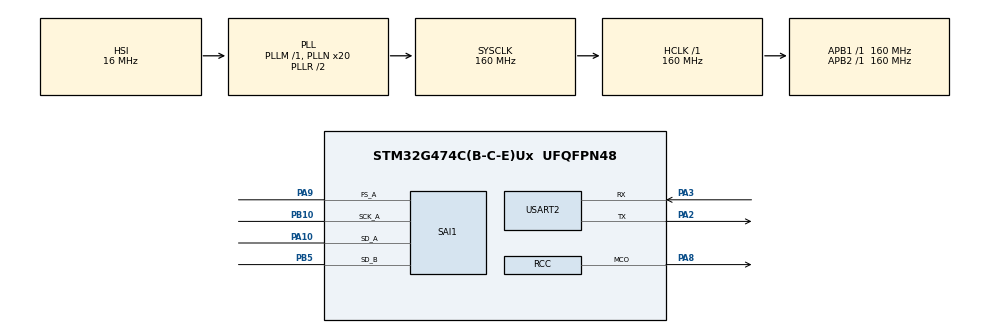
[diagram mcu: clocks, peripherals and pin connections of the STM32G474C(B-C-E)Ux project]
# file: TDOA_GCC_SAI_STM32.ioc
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Dma.Request0=SAI1_A
Dma.Request1=SAI1_B
Dma.SAI1_A.0.Direction=DMA_PERIPH_TO_MEMORY
Dma.SAI1_A.0.EventEnable=DISABLE
Dma.SAI1_A.0.Instance=DMA1_Channel1
Dma.SAI1_A.0.MemDataAlignment=DMA_MDATAALIGN_WORD
Dma.SAI1_A.0.MemInc=DMA_MINC_ENABLE
Dma.SAI1_A.0.Mode=DMA_CIRCULAR
Dma.SAI1_A.0.PeriphDataAlignment=DMA_PDATAALIGN_WORD
Dma.SAI1_A.0.PeriphInc=DMA_PINC_DISABLE
Dma.SAI1_A.0.Polarity=HAL_DMAMUX_REQ_GEN_RISING
Dma.SAI1_A.0.Priority=DMA_PRIORITY_VERY_HIGH
Dma.SAI1_A.0.RequestNumber=1
Dma.SAI1_A.0.SignalID=NONE
Dma.SAI1_A.0.SyncEnable=DISABLE
Dma.SAI1_A.0.SyncPolarity=HAL_DMAMUX_SYNC_NO_EVENT
Dma.SAI1_A.0.SyncRequestNumber=1
Dma.SAI1_A.0.SyncSignalID=NONE
Dma.SAI1_B.1.Direction=DMA_PERIPH_TO_MEMORY
Dma.SAI1_B.1.EventEnable=DISABLE
Dma.SAI1_B.1.Instance=DMA1_Channel2
Dma.SAI1_B.1.MemDataAlignment=DMA_MDATAALIGN_WORD
Dma.SAI1_B.1.MemInc=DMA_MINC_ENABLE
Dma.SAI1_B.1.Mode=DMA_CIRCULAR
Dma.SAI1_B.1.PeriphDataAlignment=DMA_PDATAALIGN_WORD
Dma.SAI1_B.1.PeriphInc=DMA_PINC_DISABLE
Dma.SAI1_B.1.Polarity=HAL_DMAMUX_REQ_GEN_RISING
Dma.SAI1_B.1.Priority=DMA_PRIORITY_VERY_HIGH
Dma.SAI1_B.1.RequestNumber=1
Dma.SAI1_B.1.SignalID=NONE
Dma.SAI1_B.1.SyncEnable=DISABLE
Dma.SAI1_B.1.SyncPolarity=HAL_DMAMUX_SYNC_NO_EVENT
Dma.SAI1_B.1.SyncRequestNumber=1
Dma.SAI1_B.1.SyncSignalID=NONE
Mcu.Family=STM32G4
Mcu.Name=STM32G474C(B-C-E)Ux
Mcu.Package=UFQFPN48
NVIC.DMA1_Channel1_IRQn=true\:0\:0\:false\:false\:true\:false\:true\:true
NVIC.DMA1_Channel2_IRQn=true\:0\:0\:false\:false\:true\:false\:true\:true
NVIC.PriorityGroup=NVIC_PRIORITYGROUP_4
NVIC.SAI1_IRQn=true\:0\:0\:false\:false\:true\:true\:true\:true
PA10.Mode=SAI_A_Master
PA10.Signal=SAI1_SD_A
PA2.Mode=Asynchronous
PA2.Signal=USART2_TX
PA3.Mode=Asynchronous
PA3.Signal=USART2_RX
PA8.Mode=Clock-out
PA8.Signal=RCC_MCO
PA9.Mode=SAI_A_Master
PA9.Signal=SAI1_FS_A
PB10.Mode=SAI_A_Master
PB10.Signal=SAI1_SCK_A
PB5.Mode=SAI_B_SyncSlave
PB5.Signal=SAI1_SD_B
ProjectManager.HeapSize=0x200
ProjectManager.StackSize=0x400
ProjectManager.TargetToolchain=STM32CubeIDE
RCC.ADC12Freq_Value=160000000
RCC.ADC345Freq_Value=160000000
RCC.AHBFreq_Value=160000000
RCC.APB1Freq_Value=160000000
RCC.APB1TimFreq_Value=160000000
RCC.APB2Freq_Value=160000000
RCC.APB2TimFreq_Value=160000000
RCC.CortexFreq_Value=160000000
RCC.EXTERNAL_CLOCK_VALUE=12288000
RCC.HCLKFreq_Value=160000000
RCC.HSE_VALUE=8000000
RCC.HSI48_VALUE=48000000
RCC.HSI_VALUE=16000000
RCC.LSE_VALUE=32768
RCC.PLLN=20
RCC.PLLQ=RCC_PLLQ_DIV4
RCC.RCC_MCO1Source=RCC_MCO1SOURCE_SYSCLK
RCC.RCC_MCODiv=RCC_MCODIV_8
RCC.SAI1CLockSelection=RCC_SAI1CLKSOURCE_PLL
RCC.SYSCLKFreq_VALUE=160000000
RCC.SYSCLKSource=RCC_SYSCLKSOURCE_PLLCLK
RCC.USBFreq_Value=80000000
RCC.VCOOutputFreq_Value=320000000
SAI1.AudioFrequency-SAI_A_Master=SAI_AUDIO_FREQUENCY_48K
SAI1.AudioMode-SAI_A_Master=SAI_MODEMASTER_RX
SAI1.BasicDataSize-SAI_A_Master=SAI_PROTOCOL_DATASIZE_24BIT
SAI1.BasicDataSize-SAI_B_SyncSlave=SAI_PROTOCOL_DATASIZE_24BIT
SAI1.FIFOThreshold-SAI_A_Master=SAI_FIFOTHRESHOLD_EMPTY
SAI1.InitProtocol-SAI_A_Master=Enable
SAI1.InitProtocol-SAI_B_SyncSlave=Enable
SAI1.Instance-SAI_A_Master=SAI$Index_Block_A
SAI1.Instance-SAI_B_SyncSlave=SAI$Index_Block_B
SAI1.MckOutput-SAI_A_Master=SAI_MCK_OUTPUT_DISABLE
SAI1.NoDivider-SAI_A_Master=SAI_MASTERDIVIDER_DISABLE
SAI1.VirtualMode-SAI_A_Master=VM_MASTER
SAI1.VirtualMode-SAI_B_SyncSlave=VM_SLAVE
SAI1.VirtualProtocol-SAI_A_BASIC=VM_BASIC_PROTOCOL
SAI1.VirtualProtocol-SAI_B_BASIC=VM_BASIC_PROTOCOL
USART2.VirtualMode-Asynchronous=VM_ASYNC
VP_SAI1_VP_$IpInstance_SAIA_SAI_BASIC.Mode=SAI_A_BASIC
VP_SAI1_VP_$IpInstance_SAIB_SAI_BASIC.Mode=SAI_B_BASIC
VP_SYS_VS_DBSignals.Mode=DisableDeadBatterySignals
board=custom

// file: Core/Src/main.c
/* USER CODE BEGIN Header */
/**
 ******************************************************************************
 * @file           : main.c
 * @brief          : Main program body
 ******************************************************************************
 * @attention
 *
 * Copyright (c) 2026 STMicroelectronics.
 * All rights reserved.
 *
 * This software is licensed under terms that can be found in the LICENSE file
 * in the root directory of this software component.
 * If no LICENSE file comes with this software, it is provided AS-IS.
 *
 ******************************************************************************
 */
/* USER CODE END Header */
#include "main.h"

/* USER CODE BEGIN Includes */
#include <math.h>
#include <stdio.h>
#include <stdlib.h>
#include <string.h>
#include "arm_math.h"
#include "arm_const_structs.h"
/* USER CODE END Includes */

/* USER CODE BEGIN PD */
#define SAI_A_BUFFER_SIZE 4096
#define SAI_B_BUFFER_SIZE 4096

#define AUDIO_FRAMES 1024

#define READY_A 0x01 // =00000001
#define READY_B 0x02 // =00000010
#define READY_BOTH 0x03 // =00000011 = READY_A OR READY_B

// trigger pra captura automatica com rms
#define TRIGGER_RMS 0.020f
#define RELEASE_RMS 0.005f
#define RELEASE_BLOCKS 3

// constantes GCC-PHAT.
#define GCC_WINDOW_SIZE 256
#define GCC_FFT_SIZE 512
#define GCC_WINDOW_OFFSET 384

#define GCC_MAX_LAG 14
#define GCC_PHYSICAL_MAX_LAG 14.5f
#define GCC_MAX_CLOSURE 0.50f

#define AUDIO_FS 48076.9230769f
#define PCM_24_SCALE 8388608.0f

#define GCC_EPSILON 1.0e-12f
#define GCC_MIN_RMS 0.0005f

#define ENABLE_AUTO_CAPTURE 0

#define SPEED_OF_SOUND 343.0f
#define MIC_DISTANCE_M 0.10f // 10cm

#define RAD_TO_DEG 57.2957795131f // 180/pi
/* USER CODE END PD */

SAI_HandleTypeDef hsai_BlockA1;
SAI_HandleTypeDef hsai_BlockB1;
DMA_HandleTypeDef hdma_sai1_a;
DMA_HandleTypeDef hdma_sai1_b;

UART_HandleTypeDef huart2;

/* USER CODE BEGIN PV */
volatile uint32_t saiA_buffer[SAI_A_BUFFER_SIZE];
volatile uint32_t saiB_buffer[SAI_B_BUFFER_SIZE];

int32_t mic1[AUDIO_FRAMES];
int32_t mic2[AUDIO_FRAMES];
int32_t mic3[AUDIO_FRAMES];

int32_t capture_mic1[AUDIO_FRAMES];
int32_t capture_mic2[AUDIO_FRAMES];
int32_t capture_mic3[AUDIO_FRAMES];

static float32_t fft_mic1[2 * GCC_FFT_SIZE];
static float32_t fft_mic2[2 * GCC_FFT_SIZE];
static float32_t fft_mic3[2 * GCC_FFT_SIZE];

// Buffer temporário para: X * conj(Y) e posteriormente IFFT.
static float32_t gcc_work[2 * GCC_FFT_SIZE];

volatile float32_t tdoa12_samples = 0.0f;
volatile float32_t tdoa13_samples = 0.0f;
volatile float32_t tdoa23_samples = 0.0f;

float32_t gcc12_quality = 0.0f;
float32_t gcc13_quality = 0.0f;
float32_t gcc23_quality = 0.0f;

volatile float32_t closure_samples = 0.0f;

volatile uint8_t tdoa12_valid = 0;
volatile uint8_t tdoa13_valid = 0;
volatile uint8_t tdoa23_valid = 0;

volatile uint8_t tdoa_all_valid = 0;

volatile float mic1_rms = 0.0f;
volatile float mic2_rms = 0.0f;
volatile float mic3_rms = 0.0f;

volatile uint32_t saiA_half_count = 0;
volatile uint32_t saiA_full_count = 0;
volatile uint32_t saiA_error_count = 0;

volatile uint32_t saiB_half_count = 0;
volatile uint32_t saiB_full_count = 0;
volatile uint32_t saiB_error_count = 0;

volatile int32_t mic1_min = 0;
volatile int32_t mic1_max = 0;
volatile int32_t mic2_min = 0;
volatile int32_t mic2_max = 0;

volatile uint8_t half_ready_mask = 0;
volatile uint8_t full_ready_mask = 0;

volatile uint8_t audio_block_ready = 0;

static uint32_t last_uart_update = 0;
volatile uint8_t capture_request = 0;
volatile uint8_t capture_ready = 0;

volatile uint8_t event_armed = 1;
volatile uint8_t release_count = 0;

static float32_t hann_window[GCC_WINDOW_SIZE];

volatile uint8_t tdoa_solution_valid = 0;

float32_t current_event_rms = 0.0f;

// azimute
float32_t direction_x = 0.0f;
float32_t direction_y = 0.0f;
float32_t direction_norm = 0.0f;
float32_t azimuth_deg = 0.0f;

volatile uint8_t angle_valid = 0;
/* USER CODE END PV */

void SystemClock_Config(void);
static void MX_GPIO_Init(void);
static void MX_DMA_Init(void);
static void MX_SAI1_Init(void);
static void MX_USART2_UART_Init(void);
/* USER CODE BEGIN PFP */
static float Calculate_RMS(const int32_t *buffer, int length);
static inline int32_t INMP441_Decode(uint32_t raw);
static void ProcessAudioBlock(uint32_t offset);

static void GCC_Init(void);
static uint8_t GCC_IsValid(float32_t tau);

static float32_t GCC_PHAT_FromFFT(const float32_t *fft_x, const float32_t *fft_y, float32_t *quality);
static float32_t GCC_GetCorrelationAtLag(const float32_t *corr, int lag);
static void GCC_PrepareFFT(const int32_t *input, float32_t *fft_out);

static uint8_t CalculateDirection(
    float32_t tau12,
    float32_t tau13,
    float32_t tau23,
    float32_t *ux,
    float32_t *uy,
    float32_t *norm,
    float32_t *angle);
/* USER CODE END PFP */

int main(void)
{

  /* MCU Configuration--------------------------------------------------------*/

  /* Reset of all peripherals, Initializes the Flash interface and the Systick. */
  HAL_Init();

  /* Configure the system clock */
  SystemClock_Config();

  /* Initialize all configured peripherals */
  MX_GPIO_Init();
  MX_DMA_Init();
  MX_SAI1_Init();
  MX_USART2_UART_Init();
  /* USER CODE BEGIN 2 */
    GCC_Init();

    // Inicia o Block B primeiro
    if (HAL_SAI_Receive_DMA(&hsai_BlockB1, (uint8_t *)saiB_buffer, SAI_B_BUFFER_SIZE) != HAL_OK)
    {
        Error_Handler();
    }

    // Depois inicia o Block A, que gera SCK e FS
    if (HAL_SAI_Receive_DMA(&hsai_BlockA1, (uint8_t *)saiA_buffer, SAI_A_BUFFER_SIZE) != HAL_OK)
    {
        Error_Handler();
    }

  /* USER CODE END 2 */

  /* Infinite loop */
  /* USER CODE BEGIN WHILE */
    while (1)
    {

        uint8_t cmd;

        if (HAL_UART_Receive(&huart2, &cmd, 1, 0) == HAL_OK)
        {
            if (cmd == 'C' || cmd == 'c')
            {
                capture_request = 1;

                char msg[] = "Captura solicitada...\r\n";

                HAL_UART_Transmit(&huart2, (uint8_t *)msg, strlen(msg), HAL_MAX_DELAY);
            }
        }
        /* Primeira metade do DMA */
        if (half_ready_mask == READY_BOTH)
        {
            __disable_irq();
            half_ready_mask = 0;
            __enable_irq();

            ProcessAudioBlock(0);
        }

        /* Segunda metade do DMA */
        if (full_ready_mask == READY_BOTH)
        {
            __disable_irq();
            full_ready_mask = 0;
            __enable_irq();

            ProcessAudioBlock(SAI_A_BUFFER_SIZE / 2);
        }

        // Telemetria do RMS dos mic
        if (HAL_GetTick() - last_uart_update >= 100)
        {
            last_uart_update = HAL_GetTick();

            char msg[384];
            int len;

            if (angle_valid)
            {
                int32_t angle_x100 =
                    (int32_t)(azimuth_deg * 100.0f);

                uint32_t norm_x1000 =
                    (uint32_t)(direction_norm * 1000.0f);

                int32_t closure_x1000 =
                    (int32_t)(closure_samples * 1000.0f);

                uint32_t q12_x100 =
                    (uint32_t)(gcc12_quality * 100.0f);

                uint32_t q13_x100 =
                    (uint32_t)(gcc13_quality * 100.0f);

                uint32_t q23_x100 =
                    (uint32_t)(gcc23_quality * 100.0f);

                uint32_t rms_x1e6 =
                    (uint32_t)(current_event_rms * 1000000.0f);

                len = snprintf(
                    msg,
                    sizeof(msg),

                    "ANGLE:%ld.%02ld "
                    "RMS:%lu "
                    "N:%lu.%03lu "
                    "C:%ld "
                    "Q:%lu.%02lu,%lu.%02lu,%lu.%02lu\r\n",

                    /* Ângulo */
                    (long)(angle_x100 / 100),
                    (long)labs(angle_x100 % 100),

                    // RMS
                    (unsigned long)rms_x1e6,

                    /* Norm */
                    (unsigned long)(norm_x1000 / 1000),
                    (unsigned long)(norm_x1000 % 1000),

                    /* Closure x1000 */
                    (long)closure_x1000,

                    /* Q12 */
                    (unsigned long)(q12_x100 / 100),
                    (unsigned long)(q12_x100 % 100),

                    /* Q13 */
                    (unsigned long)(q13_x100 / 100),
                    (unsigned long)(q13_x100 % 100),

                    /* Q23 */
                    (unsigned long)(q23_x100 / 100),
                    (unsigned long)(q23_x100 % 100));
            }

            else if (tdoa_all_valid)
            {
                int32_t closure_x1000 =
                    (int32_t)(closure_samples * 1000.0f);

                len = snprintf(
                    msg,
                    sizeof(msg),

                    "ANGLE:INVALID "
                    "C:%ld\r\n",

                    (long)closure_x1000);
            }

            else
            {
                len = snprintf(
                    msg,
                    sizeof(msg),

                    "ANGLE:INVALID "
                    "V:%u,%u,%u\r\n",

                    tdoa12_valid,
                    tdoa13_valid,
                    tdoa23_valid);
            }

            /*
             * Acrescenta os TDOAs e o motivo da rejeição à mensagem existente.
             *
             * TAU1000: atrasos em milésimos de amostra.
             * RMS:     amplitude normalizada multiplicada por 1.000.000.
             * MS:      instante de emissão da telemetria, em milissegundos.
             *
             */
            char tau_text[3][24];

            const float tau_values[3] = {
                tdoa12_samples,
                tdoa13_samples,
                tdoa23_samples
            };

            const uint8_t signal_present =
                current_event_rms >= GCC_MIN_RMS;

            for (int i = 0; i < 3; i++)
            {
                if (signal_present && isfinite(tau_values[i]))
                {
                    snprintf(
                        tau_text[i],
                        sizeof(tau_text[i]),
                        "%ld",
                        (long)lrintf(tau_values[i] * 1000.0f));
                }
                else
                {
                    /*
                     * Não transmite TDOAs antigos quando o RMS está baixo.
                     */
                    strcpy(tau_text[i], "NA");
                }
            }

            const char *reason;

            if (!signal_present)
                reason = "LOW_RMS";
            else if (!tdoa_all_valid)
                reason = "PAIR_INVALID";
            else if (!tdoa_solution_valid)
                reason = "CLOSURE";
            else if (!angle_valid)
                reason = "DIRECTION";
            else
                reason = "OK";

            /* Remove o fim de linha da mensagem original. */
            if (len < 0 || len >= (int)sizeof(msg))
                len = 0;

            while (len > 0 &&
                   (msg[len - 1] == '\r' || msg[len - 1] == '\n'))
            {
                len--;
            }

            int available = (int)sizeof(msg) - len;

            int extra = snprintf(
                msg + len,
                (size_t)available,
                " TAU1000:%s,%s,%s"
                " V:%u,%u,%u"
                " RMS:%lu"
                " REASON:%s"
                " MS:%lu\r\n",
                tau_text[0],
                tau_text[1],
                tau_text[2],
                (unsigned int)tdoa12_valid,
                (unsigned int)tdoa13_valid,
                (unsigned int)tdoa23_valid,
                (unsigned long)(current_event_rms * 1000000.0f),
                reason,
                (unsigned long)HAL_GetTick());

            if (extra < 0)
                extra = 0;

            if (extra >= available)
                extra = available - 1;

            len += extra;

            HAL_UART_Transmit(
                &huart2,
                (uint8_t *)msg,
                len,
                HAL_MAX_DELAY);
        }

        // ENVIO DA CAPTURA
        if (capture_ready)
        {
            capture_ready = 0;

            char line[100];

            int len = snprintf(
                line,
                sizeof(line),
                "sample,mic1,mic2,mic3\r\n");

            HAL_UART_Transmit(
                &huart2,
                (uint8_t *)line,
                len,
                HAL_MAX_DELAY);

            for (int i = 0; i < AUDIO_FRAMES; i++)
            {
                len = snprintf(
                    line,
                    sizeof(line),
                    "%d,%ld,%ld,%ld\r\n",
                    i,
                    (long)capture_mic1[i],
                    (long)capture_mic2[i],
                    (long)capture_mic3[i]);

                HAL_UART_Transmit(
                    &huart2,
                    (uint8_t *)line,
                    len,
                    HAL_MAX_DELAY);
            }

            char msg[] = "\r\nFim da captura.\r\n";

            HAL_UART_Transmit(
                &huart2,
                (uint8_t *)msg,
                strlen(msg),
                HAL_MAX_DELAY);
        }

    /* USER CODE END WHILE */

    }
}

void SystemClock_Config(void)
{
  RCC_OscInitTypeDef RCC_OscInitStruct = {0};
  RCC_ClkInitTypeDef RCC_ClkInitStruct = {0};

  /** Configure the main internal regulator output voltage
  */
  HAL_PWREx_ControlVoltageScaling(PWR_REGULATOR_VOLTAGE_SCALE1_BOOST);

  /** Initializes the RCC Oscillators according to the specified parameters
  * in the RCC_OscInitTypeDef structure.
  */
  RCC_OscInitStruct.OscillatorType = RCC_OSCILLATORTYPE_HSI;
  RCC_OscInitStruct.HSIState = RCC_HSI_ON;
  RCC_OscInitStruct.HSICalibrationValue = RCC_HSICALIBRATION_DEFAULT;
  RCC_OscInitStruct.PLL.PLLState = RCC_PLL_ON;
  RCC_OscInitStruct.PLL.PLLSource = RCC_PLLSOURCE_HSI;
  RCC_OscInitStruct.PLL.PLLM = RCC_PLLM_DIV1;
  RCC_OscInitStruct.PLL.PLLN = 20;
  RCC_OscInitStruct.PLL.PLLP = RCC_PLLP_DIV2;
  RCC_OscInitStruct.PLL.PLLQ = RCC_PLLQ_DIV4;
  RCC_OscInitStruct.PLL.PLLR = RCC_PLLR_DIV2;
  if (HAL_RCC_OscConfig(&RCC_OscInitStruct) != HAL_OK)
  {
    Error_Handler();
  }

  /** Initializes the CPU, AHB and APB buses clocks
  */
  RCC_ClkInitStruct.ClockType = RCC_CLOCKTYPE_HCLK|RCC_CLOCKTYPE_SYSCLK
                              |RCC_CLOCKTYPE_PCLK1|RCC_CLOCKTYPE_PCLK2;
  RCC_ClkInitStruct.SYSCLKSource = RCC_SYSCLKSOURCE_PLLCLK;
  RCC_ClkInitStruct.AHBCLKDivider = RCC_SYSCLK_DIV1;
  RCC_ClkInitStruct.APB1CLKDivider = RCC_HCLK_DIV1;
  RCC_ClkInitStruct.APB2CLKDivider = RCC_HCLK_DIV1;

  if (HAL_RCC_ClockConfig(&RCC_ClkInitStruct, FLASH_LATENCY_4) != HAL_OK)
  {
    Error_Handler();
  }
  HAL_RCC_MCOConfig(RCC_MCO1, RCC_MCO1SOURCE_SYSCLK, RCC_MCODIV_8);
}

static void MX_SAI1_Init(void)
{

  hsai_BlockA1.Instance = SAI1_Block_A;
  hsai_BlockA1.Init.AudioMode = SAI_MODEMASTER_RX;
  hsai_BlockA1.Init.Synchro = SAI_ASYNCHRONOUS;
  hsai_BlockA1.Init.OutputDrive = SAI_OUTPUTDRIVE_DISABLE;
  hsai_BlockA1.Init.NoDivider = SAI_MASTERDIVIDER_DISABLE;
  hsai_BlockA1.Init.MckOverSampling = SAI_MCK_OVERSAMPLING_DISABLE;
  hsai_BlockA1.Init.FIFOThreshold = SAI_FIFOTHRESHOLD_EMPTY;
  hsai_BlockA1.Init.AudioFrequency = SAI_AUDIO_FREQUENCY_48K;
  hsai_BlockA1.Init.SynchroExt = SAI_SYNCEXT_DISABLE;
  hsai_BlockA1.Init.MonoStereoMode = SAI_STEREOMODE;
  hsai_BlockA1.Init.CompandingMode = SAI_NOCOMPANDING;
  if (HAL_SAI_InitProtocol(&hsai_BlockA1, SAI_I2S_STANDARD, SAI_PROTOCOL_DATASIZE_24BIT, 2) != HAL_OK)
  {
    Error_Handler();
  }
  hsai_BlockB1.Instance = SAI1_Block_B;
  hsai_BlockB1.Init.AudioMode = SAI_MODESLAVE_RX;
  hsai_BlockB1.Init.Synchro = SAI_SYNCHRONOUS;
  hsai_BlockB1.Init.OutputDrive = SAI_OUTPUTDRIVE_DISABLE;
  hsai_BlockB1.Init.FIFOThreshold = SAI_FIFOTHRESHOLD_EMPTY;
  hsai_BlockB1.Init.SynchroExt = SAI_SYNCEXT_DISABLE;
  hsai_BlockB1.Init.MonoStereoMode = SAI_STEREOMODE;
  hsai_BlockB1.Init.CompandingMode = SAI_NOCOMPANDING;
  hsai_BlockB1.Init.TriState = SAI_OUTPUT_NOTRELEASED;
  if (HAL_SAI_InitProtocol(&hsai_BlockB1, SAI_I2S_STANDARD, SAI_PROTOCOL_DATASIZE_24BIT, 2) != HAL_OK)
  {
    Error_Handler();
  }

}

static void MX_USART2_UART_Init(void)
{

  huart2.Instance = USART2;
  huart2.Init.BaudRate = 115200;
  huart2.Init.WordLength = UART_WORDLENGTH_8B;
  huart2.Init.StopBits = UART_STOPBITS_1;
  huart2.Init.Parity = UART_PARITY_NONE;
  huart2.Init.Mode = UART_MODE_TX_RX;
  huart2.Init.HwFlowCtl = UART_HWCONTROL_NONE;
  huart2.Init.OverSampling = UART_OVERSAMPLING_16;
  huart2.Init.OneBitSampling = UART_ONE_BIT_SAMPLE_DISABLE;
  huart2.Init.ClockPrescaler = UART_PRESCALER_DIV1;
  huart2.AdvancedInit.AdvFeatureInit = UART_ADVFEATURE_NO_INIT;
  if (HAL_UART_Init(&huart2) != HAL_OK)
  {
    Error_Handler();
  }
  if (HAL_UARTEx_SetTxFifoThreshold(&huart2, UART_TXFIFO_THRESHOLD_1_8) != HAL_OK)
  {
    Error_Handler();
  }
  if (HAL_UARTEx_SetRxFifoThreshold(&huart2, UART_RXFIFO_THRESHOLD_1_8) != HAL_OK)
  {
    Error_Handler();
  }
  if (HAL_UARTEx_DisableFifoMode(&huart2) != HAL_OK)
  {
    Error_Handler();
  }

}

static void MX_DMA_Init(void)
{

  /* DMA controller clock enable */
  __HAL_RCC_DMAMUX1_CLK_ENABLE();
  __HAL_RCC_DMA1_CLK_ENABLE();

  /* DMA interrupt init */
  /* DMA1_Channel1_IRQn interrupt configuration */
  HAL_NVIC_SetPriority(DMA1_Channel1_IRQn, 0, 0);
  HAL_NVIC_EnableIRQ(DMA1_Channel1_IRQn);
  /* DMA1_Channel2_IRQn interrupt configuration */
  HAL_NVIC_SetPriority(DMA1_Channel2_IRQn, 0, 0);
  HAL_NVIC_EnableIRQ(DMA1_Channel2_IRQn);

}

static void MX_GPIO_Init(void)
{
  GPIO_InitTypeDef GPIO_InitStruct = {0};

  /* GPIO Ports Clock Enable */
  __HAL_RCC_GPIOA_CLK_ENABLE();
  __HAL_RCC_GPIOB_CLK_ENABLE();

  /*Configure GPIO pin : PA8 */
  GPIO_InitStruct.Pin = GPIO_PIN_8;
  GPIO_InitStruct.Mode = GPIO_MODE_AF_PP;
  GPIO_InitStruct.Pull = GPIO_NOPULL;
  GPIO_InitStruct.Speed = GPIO_SPEED_FREQ_LOW;
  GPIO_InitStruct.Alternate = GPIO_AF0_MCO;
  HAL_GPIO_Init(GPIOA, &GPIO_InitStruct);

}

/* USER CODE BEGIN 4 */
static uint8_t GCC_IsValid(
    float32_t tau)
{
    if (!isfinite(tau))
    {
        return 0;
    }

    if (fabsf(tau) > GCC_PHYSICAL_MAX_LAG)
    {
        return 0;
    }

    return 1;
}

static void GCC_PrepareFFT(
    const int32_t *input,
    float32_t *fft_out)
{
    float32_t mean = 0.0f;

    /*
     * Remove componente DC.
     */
    for (int i = 0; i < GCC_WINDOW_SIZE; i++)
    {
        mean += (float32_t)input[i];
    }

    mean /= (float32_t)GCC_WINDOW_SIZE;

    /*
     * Monta sinal complexo:
     *
     * real = áudio normalizado * Hann
     * imag = 0
     *
     * e completa com zeros até 256.
     */
    for (int i = 0; i < GCC_FFT_SIZE; i++)
    {
        if (i < GCC_WINDOW_SIZE)
        {
            float32_t sample =
                ((float32_t)input[i] - mean) /
                PCM_24_SCALE;

            fft_out[2 * i] =
                sample * hann_window[i];

            fft_out[2 * i + 1] = 0.0f;
        }
        else
        {
            fft_out[2 * i] = 0.0f;
            fft_out[2 * i + 1] = 0.0f;
        }
    }

    /*
     * FFT complexa.
     */
    arm_cfft_f32(
        &arm_cfft_sR_f32_len512,
        fft_out,
        0,
        1);
}
static void GCC_Init(void)
{
    for (int n = 0; n < GCC_WINDOW_SIZE; n++)
    {
        hann_window[n] =
            0.5f -
            0.5f * cosf(
                       (2.0f * 3.14159265358979323846f * (float)n) /
                       (float)(GCC_WINDOW_SIZE - 1));
    }
}

static float32_t GCC_GetCorrelationAtLag(
    const float32_t *corr,
    int lag)
{
    int index;

    if (lag >= 0)
    {
        index = lag;
    }
    else
    {
        index = GCC_FFT_SIZE + lag;
    }

    /*
     * Resultado da IFFT é complexo intercalado:
     *
     * real0, imag0, real1, imag1...
     */
    return corr[2 * index];
}

static float32_t GCC_PHAT_FromFFT(
    const float32_t *fft_x,
    const float32_t *fft_y,
    float32_t *quality)
{
    /*
     * Cross-spectrum:
     *
     * R = X * conj(Y)
     *
     * seguido de PHAT:
     *
     * R /= |R|
     */

    for (int k = 0; k < GCC_FFT_SIZE; k++)
    {
        float32_t xr = fft_x[2 * k];
        float32_t xi = fft_x[2 * k + 1];

        float32_t yr = fft_y[2 * k];
        float32_t yi = fft_y[2 * k + 1];

        float32_t real =
            xr * yr + xi * yi;

        float32_t imag =
            xi * yr - xr * yi;

        float32_t magnitude =
            sqrtf(
                real * real +
                imag * imag);

        if (magnitude > GCC_EPSILON)
        {
            real /= magnitude;
            imag /= magnitude;
        }
        else
        {
            real = 0.0f;
            imag = 0.0f;
        }

        gcc_work[2 * k] = real;
        gcc_work[2 * k + 1] = imag;
    }

    /*
     * IFFT da correlação.
     */
    arm_cfft_f32(
        &arm_cfft_sR_f32_len512,
        gcc_work,
        1,
        1);

    /*
     * Busca do pico.
     */
    int best_lag = 0;

    float32_t best_value = -1.0e30f;
    float32_t sum_abs = 0.0f;

    for (int lag = -GCC_MAX_LAG;
         lag <= GCC_MAX_LAG;
         lag++)
    {
        float32_t value =
            GCC_GetCorrelationAtLag(
                gcc_work,
                lag);

        sum_abs += fabsf(value);

        if (value > best_value)
        {
            best_value = value;
            best_lag = lag;
        }
    }

    /*
     * Qualidade.
     */
    float32_t mean_abs =
        sum_abs /
        (float32_t)(2 * GCC_MAX_LAG + 1);

    if (quality != NULL)
    {
        *quality =
            best_value /
            (mean_abs + GCC_EPSILON);
    }

    /*
     * Interpolação parabólica.
     */
    float32_t ym1 =
        GCC_GetCorrelationAtLag(
            gcc_work,
            best_lag - 1);

    float32_t y0 =
        GCC_GetCorrelationAtLag(
            gcc_work,
            best_lag);

    float32_t yp1 =
        GCC_GetCorrelationAtLag(
            gcc_work,
            best_lag + 1);

    float32_t denominator =
        ym1 -
        2.0f * y0 +
        yp1;

    float32_t delta = 0.0f;

    if (fabsf(denominator) > GCC_EPSILON)
    {
        delta =
            0.5f *
            (ym1 - yp1) /
            denominator;

        if (delta > 1.0f)
            delta = 1.0f;

        if (delta < -1.0f)
            delta = -1.0f;
    }

    return (float32_t)best_lag +
           delta;
}

static void ProcessAudioBlock(uint32_t offset)
{
    for (int i = 0; i < AUDIO_FRAMES; i++)
    {
        mic1[i] = INMP441_Decode(saiA_buffer[offset + 2 * i]);
        mic2[i] = INMP441_Decode(saiA_buffer[offset + 2 * i + 1]);
        mic3[i] = INMP441_Decode(saiB_buffer[offset + 2 * i]);
    }

    float32_t gcc_rms1 =
        Calculate_RMS(
            &mic1[GCC_WINDOW_OFFSET],
            GCC_WINDOW_SIZE);

    float32_t gcc_rms2 =
        Calculate_RMS(
            &mic2[GCC_WINDOW_OFFSET],
            GCC_WINDOW_SIZE);

    float32_t gcc_rms3 =
        Calculate_RMS(
            &mic3[GCC_WINDOW_OFFSET],
            GCC_WINDOW_SIZE);

    float32_t event_rms = gcc_rms1;

    if (gcc_rms2 > event_rms)
    {
        event_rms = gcc_rms2;
    }

    if (gcc_rms3 > event_rms)
    {
        event_rms = gcc_rms3;
    }

    current_event_rms = event_rms;

    if (event_rms >= GCC_MIN_RMS)
    {
        GCC_PrepareFFT(
            &mic1[GCC_WINDOW_OFFSET],
            fft_mic1);

        GCC_PrepareFFT(
            &mic2[GCC_WINDOW_OFFSET],
            fft_mic2);

        GCC_PrepareFFT(
            &mic3[GCC_WINDOW_OFFSET],
            fft_mic3);

        tdoa12_samples =
            GCC_PHAT_FromFFT(
                fft_mic1,
                fft_mic2,
                &gcc12_quality);

        tdoa13_samples =
            GCC_PHAT_FromFFT(
                fft_mic1,
                fft_mic3,
                &gcc13_quality);

        tdoa23_samples =
            GCC_PHAT_FromFFT(
                fft_mic2,
                fft_mic3,
                &gcc23_quality);

        tdoa12_valid =
            GCC_IsValid(tdoa12_samples);

        tdoa13_valid =
            GCC_IsValid(tdoa13_samples);

        tdoa23_valid =
            GCC_IsValid(tdoa23_samples);

        tdoa_all_valid =
            tdoa12_valid &&
            tdoa13_valid &&
            tdoa23_valid;

        if (tdoa_all_valid)
        {
            closure_samples =
                tdoa13_samples -
                (tdoa12_samples +
                 tdoa23_samples);

            if (fabsf(closure_samples) <= GCC_MAX_CLOSURE)
            {
                tdoa_solution_valid = 1;
            }
            else
            {
                tdoa_solution_valid = 0;
            }
        }
        else
        {
            closure_samples = 0.0f;
            tdoa_solution_valid = 0;
        }
        if (tdoa_solution_valid)
        {
            angle_valid =
                CalculateDirection(
                    tdoa12_samples,
                    tdoa13_samples,
                    tdoa23_samples,

                    &direction_x,
                    &direction_y,

                    &direction_norm,

                    &azimuth_deg);
        }
        else
        {
            angle_valid = 0;
        }
    }
    else
    {
        tdoa12_valid = 0;
        tdoa13_valid = 0;
        tdoa23_valid = 0;

        tdoa_all_valid = 0;
        tdoa_solution_valid = 0;

        angle_valid = 0;

        closure_samples = 0.0f;
    }

#if ENABLE_AUTO_CAPTURE
     // Captura automática: uma captura quando a palma ultrapassa o threshold
    if (event_armed &&
        event_rms >= TRIGGER_RMS &&
        !capture_ready)
    {
        memcpy(capture_mic1, mic1, sizeof(mic1));
        memcpy(capture_mic2, mic2, sizeof(mic2));
        memcpy(capture_mic3, mic3, sizeof(mic3));

        capture_ready = 1;

        event_armed = 0;
        release_count = 0;
    }

    /*
     * Rearma somente depois que o som cair abaixo
     * do threshold inferior durante alguns blocos.
     */
    if (!event_armed)
    {
        if (event_rms <= RELEASE_RMS)
        {
            release_count++;

            if (release_count >= RELEASE_BLOCKS)
            {
                event_armed = 1;
                release_count = 0;
            }
        }
        else
        {
            release_count = 0;
        }
    }
#endif

     // Mantém o comando C como captura manual opcional.
    if (capture_request && !capture_ready)
    {
        memcpy(capture_mic1, mic1, sizeof(mic1));
        memcpy(capture_mic2, mic2, sizeof(mic2));
        memcpy(capture_mic3, mic3, sizeof(mic3));

        capture_request = 0;
        capture_ready = 1;
    }
}

static inline int32_t INMP441_Decode(uint32_t raw)
{
    int32_t sample = raw & 0x00FFFFFF;

    if (sample & 0x00800000)
    {
        sample |= 0xFF000000;
    }

    return sample;
}

static float Calculate_RMS(
    const int32_t *buffer,
    int length)
{
    float sum = 0.0f;

    for (int i = 0; i < length; i++)
    {
        float x =
            (float)buffer[i] /
            PCM_24_SCALE;

        sum += x * x;
    }

    return sqrtf(
        sum / (float)length);
}

static uint8_t CalculateDirection(
    float32_t tau12,
    float32_t tau13,
    float32_t tau23,
    float32_t *ux,
    float32_t *uy,
    float32_t *norm,
    float32_t *angle)
{

    const float32_t k =
        SPEED_OF_SOUND / AUDIO_FS;

    float32_t raw_x =
        k *
        (2.0f * tau12 +
         tau13 -
         tau23) /
        (3.0f *
         MIC_DISTANCE_M);

    float32_t raw_y =
        k *
        (tau13 +
         tau23) /
        (1.73205080757f *
         MIC_DISTANCE_M);

    float32_t n =
        sqrtf(
            raw_x * raw_x +
            raw_y * raw_y);

    if (!isfinite(n) ||
        n < 1.0e-6f)
    {
        return 0;
    }

    *norm = n;

    /*
     * Normaliza direção.
     */
    *ux = raw_x / n;
    *uy = raw_y / n;

    /*
     * atan2 padrão:
     *
     * +x = 0°
     * +y = 90°
     *
     * Nossa convenção:
     *
     * +y = 0°
     * +x = 90°
     */
    float32_t cartesian_deg =
        atan2f(
            *uy,
            *ux) *
        RAD_TO_DEG;

    float32_t azimuth =
        90.0f -
        cartesian_deg;

    while (azimuth < 0.0f)
    {
        azimuth += 360.0f;
    }

    while (azimuth >= 360.0f)
    {
        azimuth -= 360.0f;
    }

    *angle = azimuth;

    return 1;
}
/*
void HAL_SAI_RxHalfCpltCallback(SAI_HandleTypeDef *hsai)
{
    if (hsai->Instance == SAI1_Block_A)
    {
        saiA_half_count++;
    }
}
*/
void HAL_SAI_RxHalfCpltCallback(SAI_HandleTypeDef *hsai)
{
    if (hsai->Instance == SAI1_Block_A)
    {
        saiA_half_count++;
        half_ready_mask |= READY_A;
    }
    else if (hsai->Instance == SAI1_Block_B)
    {
        saiB_half_count++;
        half_ready_mask |= READY_B;
    }
}

void HAL_SAI_RxCpltCallback(SAI_HandleTypeDef *hsai)
{
    if (hsai->Instance == SAI1_Block_A)
    {
        saiA_full_count++;
        full_ready_mask |= READY_A;
    }
    else if (hsai->Instance == SAI1_Block_B)
    {
        saiB_full_count++;
        full_ready_mask |= READY_B;
    }
}

void HAL_SAI_ErrorCallback(SAI_HandleTypeDef *hsai)
{
    if (hsai->Instance == SAI1_Block_A)
    {
        saiA_error_count++;
    }
    else if (hsai->Instance == SAI1_Block_B)
    {
        saiB_error_count++;
    }
}
/* USER CODE END 4 */

void Error_Handler(void)
{
    __disable_irq();
    while (1)
    {
    }
}
